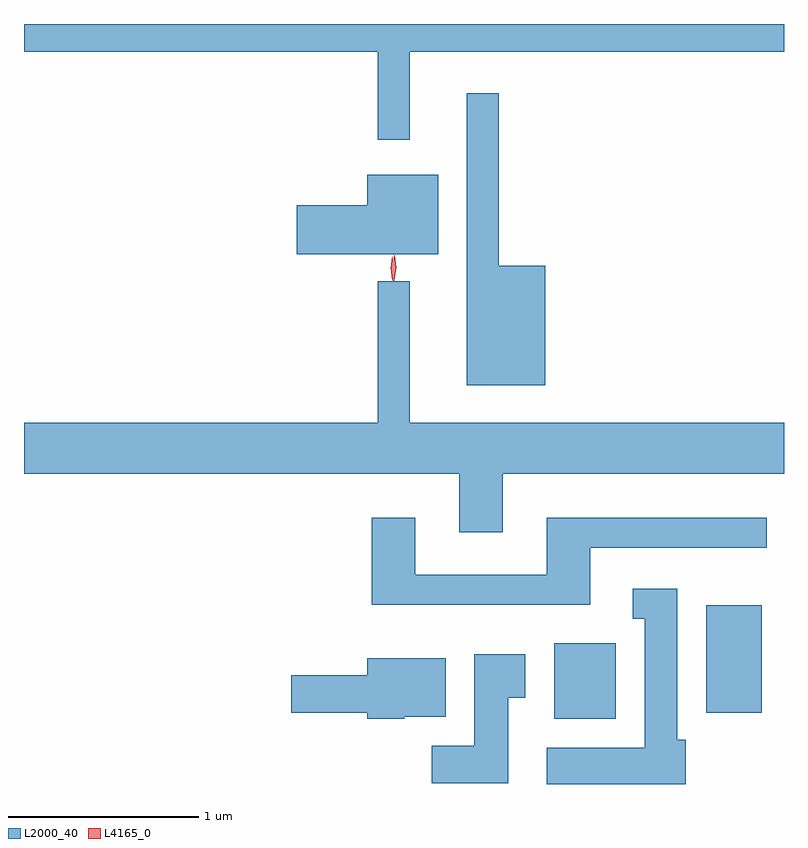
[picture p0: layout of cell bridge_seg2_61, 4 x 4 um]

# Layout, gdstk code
import gdstk
lib = gdstk.Library(unit=1e-6, precision=1e-09)
def R(c, l, rs):  # rectangles x0, y0, x1, y1
    for r in rs: c.add(gdstk.rectangle(r[:2], r[2:], *l))
def P(c, l, *ps):  # polygons
    for p in ps: c.add(gdstk.Polygon(p, *l))
L2000_40 = (2000, 40)
L4165_0 = (4165, 0)

bridge_seg2_61 = lib.new_cell('bridge_seg2_61')
R(bridge_seg2_61, L2000_40, [(1132.401,1069.226,1132.724,1069.624), (1133.201,1069.256,1133.494,1069.824)])
P(bridge_seg2_61, L2000_40, [(1131.639,1072.736),(1133.61,1072.736),(1133.61,1072.882),(1129.61,1072.882),(1129.61,1072.736),(1131.471,1072.736),(1131.471,1072.273),(1131.639,1072.273)],
  [(1132.354,1071.609),(1132.109,1071.609),(1132.109,1072.518),(1131.941,1072.518),(1131.941,1070.981),(1132.354,1070.981)],
  [(1131.789,1072.089),(1131.416,1072.089),(1131.416,1071.929),(1131.046,1071.929),(1131.046,1071.671),(1131.789,1071.671)],
  [(1131.639,1071.528),(1131.471,1071.528),(1131.471,1070.784),(1129.61,1070.784),(1129.61,1070.516),(1131.901,1070.516),(1131.901,1070.206),(1132.129,1070.206),(1132.129,1070.516),(1133.61,1070.516),(1133.61,1070.784),(1131.639,1070.784)],
  [(1132.589,1070.126),(1133.518,1070.126),(1133.518,1070.284),(1132.361,1070.284),(1132.361,1069.984),(1131.669,1069.984),(1131.669,1070.284),(1131.441,1070.284),(1131.441,1069.826),(1132.589,1069.826)],
  [(1133.094,1069.114),(1133.049,1069.114),(1133.049,1069.909),(1132.813,1069.909),(1132.813,1069.751),(1132.876,1069.751),(1132.876,1069.074),(1132.361,1069.074),(1132.361,1068.882),(1133.094,1068.882)],
  [(1132.159,1069.336),(1132.249,1069.336),(1132.249,1069.564),(1131.981,1069.564),(1131.981,1069.084),(1131.756,1069.084),(1131.756,1068.886),(1132.159,1068.886)],
  [(1131.61,1069.236),(1131.829,1069.236),(1131.829,1069.544),(1131.416,1069.544),(1131.416,1069.454),(1131.016,1069.454),(1131.016,1069.256),(1131.416,1069.256),(1131.416,1069.226),(1131.61,1069.226)])
P(bridge_seg2_61, L4165_0, [(1131.557,1071.53),(1131.548,1071.598),(1131.559,1071.666),(1131.559,1071.666),(1131.56,1071.666),(1131.568,1071.598),(1131.558,1071.53),(1131.558,1071.53)],
  [(1131.548,1071.533),(1131.539,1071.596),(1131.548,1071.659),(1131.548,1071.66),(1131.549,1071.659),(1131.559,1071.596),(1131.55,1071.533),(1131.549,1071.533)])

lib.write_gds('bridge_seg2_61.gds')
